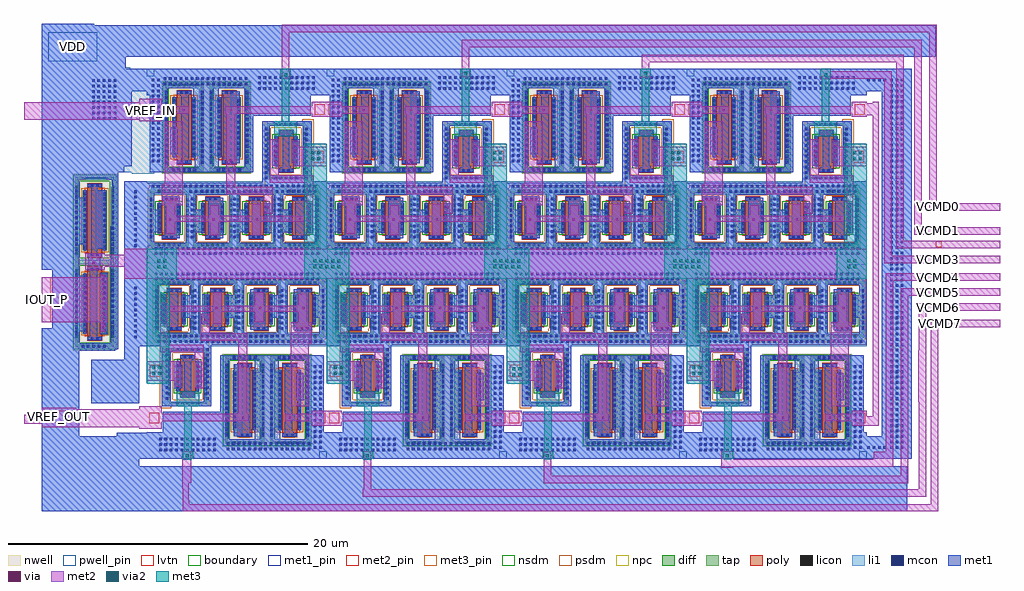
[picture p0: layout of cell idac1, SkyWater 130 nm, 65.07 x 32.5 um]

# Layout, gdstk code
from math import pi, radians
import gdstk
lib = gdstk.Library(unit=1e-6, precision=1e-09)
def R(c, l, rs):  # rectangles x0, y0, x1, y1
    for r in rs: c.add(gdstk.rectangle(r[:2], r[2:], *l))
def A(c, l, x, y, w, h, nx, ny, dx, dy):  # array of equal rectangles
    R(c, l, [(x+i*dx, y+j*dy, x+i*dx+w, y+j*dy+h) for i in range(nx) for j in range(ny)])
nwell = (64, 20)
diff = (65, 20)
tap = (65, 44)
poly = (66, 20)
licon = (66, 44)
li1 = (67, 20)
mcon = (67, 44)
met1_pin = (68, 16)
met1 = (68, 20)
via = (68, 44)
met2_pin = (69, 16)
met2 = (69, 20)
via2 = (69, 44)
met3_pin = (70, 16)
met3 = (70, 20)
nsdm = (93, 44)
psdm = (94, 20)
npc = (95, 20)
pwell_pin = (122, 16)
lvtn = (125, 44)
boundary = (235, 4)

sky130_fd_pr__pfet_01v8_ = lib.new_cell('sky130_fd_pr__pfet_01v8_lvt_ZJ82X3')
R(sky130_fd_pr__pfet_01v8_, nwell, [(-1.48,-3.095,1.48,3.095)])
R(sky130_fd_pr__pfet_01v8_, diff, [(-0.79,-2,0.79,2)])
R(sky130_fd_pr__pfet_01v8_, tap, [(-1.3,-2.915,1.3,-2.745), (-1.3,-2.745,-1.13,2.745), (1.13,-2.745,1.3,2.745), (-1.3,2.745,1.3,2.915)])
R(sky130_fd_pr__pfet_01v8_, poly, [(-0.5,-2.485,0.5,2.485)])
A(sky130_fd_pr__pfet_01v8_, licon, -1.3, -2.295, 0.17, 0.17, 1, 14, 0, 0.34)
A(sky130_fd_pr__pfet_01v8_, licon, 1.13, -2.295, 0.17, 0.17, 1, 14, 0, 0.34)
A(sky130_fd_pr__pfet_01v8_, licon, -0.73, -1.785, 0.17, 0.17, 1, 11, 0, 0.34)
A(sky130_fd_pr__pfet_01v8_, licon, 0.56, -1.785, 0.17, 0.17, 1, 11, 0, 0.34)
R(sky130_fd_pr__pfet_01v8_, licon, [(-0.255,-2.405,-0.085,-2.235), (0.085,-2.405,0.255,-2.235), (-0.255,2.235,-0.085,2.405), (0.085,2.235,0.255,2.405)])
R(sky130_fd_pr__pfet_01v8_, li1, [(-1.3,-2.915,1.3,-2.745), (-1.3,-2.745,-1.13,2.745), (1.13,-2.745,1.3,2.745), (-0.5,-2.405,0.5,-2.235), (-0.73,-2.02,-0.56,2.02), (0.56,-2.02,0.73,2.02), (-0.5,2.235,0.5,2.405), (-1.3,2.745,1.3,2.915)])
A(sky130_fd_pr__pfet_01v8_, mcon, -1.3, -2.065, 0.17, 0.17, 1, 12, 0, 0.36)
A(sky130_fd_pr__pfet_01v8_, mcon, 1.13, -2.065, 0.17, 0.17, 1, 12, 0, 0.36)
A(sky130_fd_pr__pfet_01v8_, mcon, -0.73, -1.885, 0.17, 0.17, 1, 11, 0, 0.36)
A(sky130_fd_pr__pfet_01v8_, mcon, 0.56, -1.885, 0.17, 0.17, 1, 11, 0, 0.36)
R(sky130_fd_pr__pfet_01v8_, mcon, [(-0.265,-2.405,-0.095,-2.235), (0.095,-2.405,0.265,-2.235), (-0.265,2.235,-0.095,2.405), (0.095,2.235,0.265,2.405)])
R(sky130_fd_pr__pfet_01v8_, met1, [(-0.48,-2.435,0.48,-2.205), (-1.33,-2.255,-1.1,2.255), (1.1,-2.255,1.33,2.255), (-0.76,-2,-0.53,2), (0.53,-2,0.76,2), (-0.48,2.205,0.48,2.435)])
R(sky130_fd_pr__pfet_01v8_, nsdm, [(-1.425,-3.04,1.425,-2.62), (-1.425,-2.62,-1.005,2.62), (1.005,-2.62,1.425,2.62), (-1.425,2.62,1.425,3.04)])
R(sky130_fd_pr__pfet_01v8_, psdm, [(-0.915,-2.125,0.915,2.125)])
R(sky130_fd_pr__pfet_01v8_, npc, [(-0.355,-2.505,0.355,-2.135), (-0.355,2.135,0.355,2.505)])
R(sky130_fd_pr__pfet_01v8_, lvtn, [(-0.68,-2.18,0.68,2.18)])
R(sky130_fd_pr__pfet_01v8_, boundary, [(-1.215,-2.83,1.215,2.83)])

c_sky130_fd_pr__pfet_01v8_ = lib.new_cell('sky130_fd_pr__pfet_01v8_lvt_ZJ8M88')
R(c_sky130_fd_pr__pfet_01v8_, nwell, [(-1.48,-3.095,1.48,3.095)])
R(c_sky130_fd_pr__pfet_01v8_, diff, [(-0.79,-2,0.79,2)])
R(c_sky130_fd_pr__pfet_01v8_, tap, [(-1.3,-2.915,1.3,-2.745), (-1.3,-2.745,-1.13,2.745), (1.13,-2.745,1.3,2.745), (-1.3,2.745,1.3,2.915)])
R(c_sky130_fd_pr__pfet_01v8_, poly, [(-0.5,-2.485,0.5,2.485)])
A(c_sky130_fd_pr__pfet_01v8_, licon, -1.3, -2.295, 0.17, 0.17, 1, 14, 0, 0.34)
A(c_sky130_fd_pr__pfet_01v8_, licon, 1.13, -2.295, 0.17, 0.17, 1, 14, 0, 0.34)
A(c_sky130_fd_pr__pfet_01v8_, licon, -0.73, -1.785, 0.17, 0.17, 1, 11, 0, 0.34)
A(c_sky130_fd_pr__pfet_01v8_, licon, 0.56, -1.785, 0.17, 0.17, 1, 11, 0, 0.34)
R(c_sky130_fd_pr__pfet_01v8_, licon, [(-0.255,-2.405,-0.085,-2.235), (0.085,-2.405,0.255,-2.235), (-0.255,2.235,-0.085,2.405), (0.085,2.235,0.255,2.405)])
R(c_sky130_fd_pr__pfet_01v8_, li1, [(-1.3,-2.915,1.3,-2.745), (-1.3,-2.745,-1.13,2.745), (1.13,-2.745,1.3,2.745), (-0.5,-2.405,0.5,-2.235), (-0.73,-2.02,-0.56,2.02), (0.56,-2.02,0.73,2.02), (-0.5,2.235,0.5,2.405), (-1.3,2.745,1.3,2.915)])
A(c_sky130_fd_pr__pfet_01v8_, mcon, -1.3, -2.065, 0.17, 0.17, 1, 12, 0, 0.36)
A(c_sky130_fd_pr__pfet_01v8_, mcon, 1.13, -2.065, 0.17, 0.17, 1, 12, 0, 0.36)
A(c_sky130_fd_pr__pfet_01v8_, mcon, -0.73, -1.885, 0.17, 0.17, 1, 11, 0, 0.36)
A(c_sky130_fd_pr__pfet_01v8_, mcon, 0.56, -1.885, 0.17, 0.17, 1, 11, 0, 0.36)
R(c_sky130_fd_pr__pfet_01v8_, mcon, [(-0.265,-2.405,-0.095,-2.235), (0.095,-2.405,0.265,-2.235), (-0.265,2.235,-0.095,2.405), (0.095,2.235,0.265,2.405)])
R(c_sky130_fd_pr__pfet_01v8_, met1, [(-0.48,-2.435,0.48,-2.205), (-1.33,-2.255,-1.1,2.255), (1.1,-2.255,1.33,2.255), (-0.76,-2,-0.53,2), (0.53,-2,0.76,2), (-0.48,2.205,0.48,2.435)])
R(c_sky130_fd_pr__pfet_01v8_, nsdm, [(-1.425,-3.04,1.425,-2.62), (-1.425,-2.62,-1.005,2.62), (1.005,-2.62,1.425,2.62), (-1.425,2.62,1.425,3.04)])
R(c_sky130_fd_pr__pfet_01v8_, psdm, [(-0.915,-2.125,0.915,2.125)])
R(c_sky130_fd_pr__pfet_01v8_, npc, [(-0.355,-2.505,0.355,-2.135), (-0.355,2.135,0.355,2.505)])
R(c_sky130_fd_pr__pfet_01v8_, lvtn, [(-0.68,-2.18,0.68,2.18)])
R(c_sky130_fd_pr__pfet_01v8_, boundary, [(-1.215,-2.83,1.215,2.83)])

sky130_fd_pr__nfet_01v8_ = lib.new_cell('sky130_fd_pr__nfet_01v8_lvt_QGMAL3')
R(sky130_fd_pr__nfet_01v8_, diff, [(-0.79,-1,0.79,1)])
R(sky130_fd_pr__nfet_01v8_, tap, [(-1.3,-1.87,1.3,-1.7), (-1.3,-1.7,-1.13,1.7), (1.13,-1.7,1.3,1.7), (-1.3,1.7,1.3,1.87)])
R(sky130_fd_pr__nfet_01v8_, poly, [(-0.5,-1.44,0.5,1.44)])
A(sky130_fd_pr__nfet_01v8_, licon, -0.765, -1.87, 0.17, 0.17, 5, 2, 0.34, 3.57)
A(sky130_fd_pr__nfet_01v8_, licon, -1.3, -1.275, 0.17, 0.17, 1, 8, 0, 0.34)
A(sky130_fd_pr__nfet_01v8_, licon, 1.13, -1.275, 0.17, 0.17, 1, 8, 0, 0.34)
A(sky130_fd_pr__nfet_01v8_, licon, -0.73, -0.935, 0.17, 0.17, 1, 6, 0, 0.34)
A(sky130_fd_pr__nfet_01v8_, licon, 0.56, -0.935, 0.17, 0.17, 1, 6, 0, 0.34)
R(sky130_fd_pr__nfet_01v8_, licon, [(-0.255,-1.36,-0.085,-1.19), (0.085,-1.36,0.255,-1.19), (-0.255,1.19,-0.085,1.36), (0.085,1.19,0.255,1.36)])
R(sky130_fd_pr__nfet_01v8_, li1, [(-1.3,-1.87,1.3,-1.7), (-1.3,-1.7,-1.13,1.7), (1.13,-1.7,1.3,1.7), (-0.5,-1.36,0.5,-1.19), (-0.73,-1.02,-0.56,1.02), (0.56,-1.02,0.73,1.02), (-0.5,1.19,0.5,1.36), (-1.3,1.7,1.3,1.87)])
A(sky130_fd_pr__nfet_01v8_, mcon, -0.73, -0.805, 0.17, 0.17, 1, 5, 0, 0.36)
A(sky130_fd_pr__nfet_01v8_, mcon, 0.56, -0.805, 0.17, 0.17, 1, 5, 0, 0.36)
R(sky130_fd_pr__nfet_01v8_, mcon, [(-0.265,-1.36,-0.095,-1.19), (0.095,-1.36,0.265,-1.19), (-0.265,1.19,-0.095,1.36), (0.095,1.19,0.265,1.36)])
R(sky130_fd_pr__nfet_01v8_, met1, [(-0.48,-1.39,0.48,-1.16), (-0.76,-1,-0.53,1), (0.53,-1,0.76,1), (-0.48,1.16,0.48,1.39)])
R(sky130_fd_pr__nfet_01v8_, nsdm, [(-0.915,-1.125,0.915,1.125)])
R(sky130_fd_pr__nfet_01v8_, psdm, [(-1.425,-1.995,1.425,-1.575), (-1.425,-1.575,-1.005,1.575), (1.005,-1.575,1.425,1.575), (-1.425,1.575,1.425,1.995)])
R(sky130_fd_pr__nfet_01v8_, npc, [(-0.355,-1.46,0.355,-1.09), (-0.355,1.09,0.355,1.46)])
R(sky130_fd_pr__nfet_01v8_, lvtn, [(-0.68,-1.18,0.68,1.18)])
R(sky130_fd_pr__nfet_01v8_, boundary, [(-1.21,-1.78,1.21,1.78)])

c_sky130_fd_pr__pfet_01v8__ = lib.new_cell('sky130_fd_pr__pfet_01v8_lvt_3VA8VM')
R(c_sky130_fd_pr__pfet_01v8__, nwell, [(-1.48,-3.095,1.48,3.095)])
R(c_sky130_fd_pr__pfet_01v8__, diff, [(-0.79,-2,0.79,2)])
R(c_sky130_fd_pr__pfet_01v8__, tap, [(-1.3,-2.915,1.3,-2.745), (-1.3,-2.745,-1.13,2.745), (1.13,-2.745,1.3,2.745), (-1.3,2.745,1.3,2.915)])
R(c_sky130_fd_pr__pfet_01v8__, poly, [(-0.5,-2.485,0.5,2.485)])
A(c_sky130_fd_pr__pfet_01v8__, licon, -0.765, -2.915, 0.17, 0.17, 5, 2, 0.34, 5.66)
A(c_sky130_fd_pr__pfet_01v8__, licon, -1.3, -2.295, 0.17, 0.17, 1, 14, 0, 0.34)
A(c_sky130_fd_pr__pfet_01v8__, licon, 1.13, -2.295, 0.17, 0.17, 1, 14, 0, 0.34)
A(c_sky130_fd_pr__pfet_01v8__, licon, -0.73, -1.785, 0.17, 0.17, 1, 11, 0, 0.34)
A(c_sky130_fd_pr__pfet_01v8__, licon, 0.56, -1.785, 0.17, 0.17, 1, 11, 0, 0.34)
R(c_sky130_fd_pr__pfet_01v8__, licon, [(-0.255,-2.405,-0.085,-2.235), (0.085,-2.405,0.255,-2.235), (-0.255,2.235,-0.085,2.405), (0.085,2.235,0.255,2.405)])
R(c_sky130_fd_pr__pfet_01v8__, li1, [(-1.3,-2.915,1.3,-2.745), (-1.3,-2.745,-1.13,2.745), (1.13,-2.745,1.3,2.745), (-0.5,-2.405,0.5,-2.235), (-0.73,-2.02,-0.56,2.02), (0.56,-2.02,0.73,2.02), (-0.5,2.235,0.5,2.405), (-1.3,2.745,1.3,2.915)])
A(c_sky130_fd_pr__pfet_01v8__, mcon, -0.73, -1.885, 0.17, 0.17, 1, 11, 0, 0.36)
A(c_sky130_fd_pr__pfet_01v8__, mcon, 0.56, -1.885, 0.17, 0.17, 1, 11, 0, 0.36)
R(c_sky130_fd_pr__pfet_01v8__, mcon, [(-0.265,-2.405,-0.095,-2.235), (0.095,-2.405,0.265,-2.235), (-0.265,2.235,-0.095,2.405), (0.095,2.235,0.265,2.405)])
R(c_sky130_fd_pr__pfet_01v8__, met1, [(-0.48,-2.435,0.48,-2.205), (-0.76,-2,-0.53,2), (0.53,-2,0.76,2), (-0.48,2.205,0.48,2.435)])
R(c_sky130_fd_pr__pfet_01v8__, nsdm, [(-1.425,-3.04,1.425,-2.62), (-1.425,-2.62,-1.005,2.62), (1.005,-2.62,1.425,2.62), (-1.425,2.62,1.425,3.04)])
R(c_sky130_fd_pr__pfet_01v8__, psdm, [(-0.915,-2.125,0.915,2.125)])
R(c_sky130_fd_pr__pfet_01v8__, npc, [(-0.355,-2.505,0.355,-2.135), (-0.355,2.135,0.355,2.505)])
R(c_sky130_fd_pr__pfet_01v8__, lvtn, [(-0.68,-2.18,0.68,2.18)])
R(c_sky130_fd_pr__pfet_01v8__, boundary, [(-1.215,-2.83,1.215,2.83)])

idac1cell = lib.new_cell('idac1cell')
R(idac1cell, nwell, [(1.8,7,2.15,13.15), (-1,13.15,4.95,13.2)])
R(idac1cell, tap, [(7,5.45,7.1,5.6), (6.9,5.6,7.1,5.65), (9.15,5.6,9.4,5.65), (6.9,5.65,9.4,5.7), (-1.7,5.7,9.4,6.1), (6.9,6.1,9,6.2), (8.5,6.5,9,10.5)])
R(idac1cell, li1, [(-2,1,10,2.4), (-2,2.4,-1.5,3.1), (0.6,2.4,1.3,3.1), (3.5,2.4,4.2,3.1), (6.45,2.4,7.1,2.45), (9.2,2.4,10,5.6), (6.5,2.45,7.1,3.1), (7.76,2.69,8.6,2.86), (-0.2,2.7,0.2,2.8), (2.1,2.7,3.1,3.11), (-0.8,2.8,0.2,3.11), (5.85,3.05,6.15,5.05), (-2,3.1,-1.1,4.6), (0.6,3.1,1.8,4.6), (3.5,3.1,4.8,4.6), (6.5,3.1,7.7,4.6), (-0.8,3.11,0.21,4.99), (2.1,3.11,3.11,4.99), (-2,4.6,-1.5,5.6), (0.6,4.6,1.3,5.6), (3.5,4.6,4.2,5.6), (6.5,4.6,7.1,5.6), (7.45,4.6,7.62,4.99), (-0.8,4.99,0.2,5.4), (2.1,4.99,3.1,5.4), (7.76,5.24,8.6,5.41), (-2,5.6,10,6.5), (5.7,6.5,9,6.9), (5.7,6.9,6.2,10.2), (8.4,6.9,9,10.2), (-1.8,7.1,5.1,7.4), (6.86,7.14,7.7,7.31), (-1.8,7.4,-0.6,12.25), (1.5,7.4,2.4,8.25), (4.5,7.4,5.1,10.88), (3.06,7.69,3.9,7.75), (3.06,7.75,4.15,7.86), (3.6,7.86,4.15,8.155), (1.04,8.155,1.21,8.25), (2.75,8.155,2.92,8.25), (3.6,8.155,4.21,12.035), (1.04,8.25,2.92,11.9), (6.86,9.69,7.7,9.86), (5.7,10.2,9,10.5), (4.5,10.88,8.93,12.25), (1.04,11.9,1.21,12.035), (1.5,11.9,2.4,12.7), (2.75,11.9,2.92,12.035), (3.6,12.035,4.15,12.33), (-2,12.25,-0.6,12.7), (4.5,12.25,10,12.7), (3.06,12.33,4.15,12.4), (3.06,12.4,3.9,12.5), (-2,12.7,10,14)])
A(idac1cell, mcon, -1.485, 1.585, 0.17, 0.17, 31, 2, 0.36, 0.36)
A(idac1cell, mcon, -1.82, 2.705, 0.17, 0.17, 1, 8, 0, 0.36)
A(idac1cell, mcon, 0.915, 2.705, 0.17, 0.17, 1, 8, 0, 0.36)
A(idac1cell, mcon, 3.765, 2.705, 0.17, 0.17, 1, 8, 0, 0.36)
A(idac1cell, mcon, 6.715, 2.705, 0.17, 0.17, 1, 8, 0, 0.36)
A(idac1cell, mcon, 9.31, 2.705, 0.17, 0.17, 1, 8, 0, 0.36)
A(idac1cell, mcon, 0.04, 3.245, 0.17, 0.17, 1, 5, 0, 0.36)
A(idac1cell, mcon, 2.94, 3.245, 0.17, 0.17, 1, 5, 0, 0.36)
A(idac1cell, mcon, 7.45, 3.245, 0.17, 0.17, 1, 5, 0, 0.36)
A(idac1cell, mcon, 0.835, 5.735, 0.17, 0.17, 24, 1, 0.36, 0)
A(idac1cell, mcon, -1.685, 6.095, 0.17, 0.17, 31, 1, 0.36, 0)
A(idac1cell, mcon, 6.475, 6.63, 0.17, 0.17, 5, 1, 0.36, 0)
A(idac1cell, mcon, 5.865, 6.645, 0.17, 0.17, 1, 10, 0, 0.36)
A(idac1cell, mcon, 8.565, 6.645, 0.17, 0.17, 1, 10, 0, 0.36)
A(idac1cell, mcon, -0.325, 7.18, 0.17, 0.17, 5, 1, 0.36, 0)
A(idac1cell, mcon, 2.675, 7.18, 0.17, 0.17, 5, 1, 0.36, 0)
A(idac1cell, mcon, -0.82, 7.67, 0.17, 0.17, 1, 14, 0, 0.36)
A(idac1cell, mcon, 1.61, 7.67, 0.17, 0.17, 1, 14, 0, 0.36)
A(idac1cell, mcon, 2.18, 7.67, 0.17, 0.17, 1, 14, 0, 0.36)
A(idac1cell, mcon, 4.61, 7.67, 0.17, 0.17, 1, 14, 0, 0.36)
A(idac1cell, mcon, -1.665, 7.765, 0.17, 0.17, 1, 16, 0, 0.36)
A(idac1cell, mcon, -1.305, 7.765, 0.17, 0.17, 1, 16, 0, 0.36)
A(idac1cell, mcon, 1.04, 8.21, 0.17, 0.17, 1, 11, 0, 0.36)
A(idac1cell, mcon, 2.75, 8.21, 0.17, 0.17, 1, 11, 0, 0.36)
A(idac1cell, mcon, 4.04, 8.21, 0.17, 0.17, 1, 11, 0, 0.36)
A(idac1cell, mcon, 5.415, 12.605, 0.17, 0.17, 11, 3, 0.36, 0.36)
A(idac1cell, mcon, -0.885, 12.905, 0.17, 0.17, 16, 2, 0.36, 0.36)
R(idac1cell, mcon, [(7.915,2.69,8.085,2.86), (8.275,2.69,8.445,2.86), (7.915,5.24,8.085,5.41), (8.275,5.24,8.445,5.41), (7.015,7.14,7.185,7.31), (7.375,7.14,7.545,7.31), (3.215,7.69,3.385,7.86), (3.575,7.69,3.745,7.86), (7.015,9.69,7.185,9.86), (7.375,9.69,7.545,9.86), (3.215,12.33,3.385,12.5), (3.575,12.33,3.745,12.5)])
R(idac1cell, met1_pin, [(-2,13.5,-1.5,14)])
R(idac1cell, met1, [(-2,1,10,2.4), (-2,2.4,-1.5,3.1), (0.6,2.4,1.3,3.1), (3.5,2.4,4.2,3.1), (6.45,2.4,7.1,2.45), (9.25,2.4,10,5.55), (6.5,2.45,7.1,3.1), (7.76,2.69,8.6,2.86), (-0.2,2.7,0.2,2.8), (2.1,2.7,3.1,3.11), (5,2.7,5.6,5.4), (-0.8,2.8,0.2,3.11), (7.9,2.86,8.5,5.24), (5.85,3.05,6.3,4.5), (8.75,3.05,9.05,5), (-2,3.1,-1.1,4.6), (0.6,3.1,1.8,4.6), (3.5,3.1,4.8,4.6), (6.5,3.1,7.7,4.6), (-0.8,3.11,0.21,4.99), (2.1,3.11,3.11,4.99), (5.85,4.5,6.35,5), (-2,4.6,-1.5,5.7), (0.6,4.6,1.3,5.6), (3.5,4.6,4.2,5.6), (6.5,4.6,7.1,5.6), (7.45,4.6,7.62,4.99), (-0.8,4.99,0.2,5.1), (2.1,4.99,3.1,5.4), (5.85,5,6.3,5.05), (-0.85,5.1,0.2,5.24), (-0.99,5.24,0.2,5.4), (7.76,5.24,8.6,5.41), (-0.99,5.4,0.15,5.5), (9.2,5.55,10,5.6), (0.6,5.6,10,5.7), (-2,5.7,10,6.4), (5.7,6.4,10,6.5), (5.7,6.5,9,6.9), (5.7,6.9,6.2,10.2), (8.4,6.9,9,10.2), (-1.8,7.1,5.1,7.4), (6.9,7.1,7.6,7.11), (6.8,7.11,7.76,7.34), (6.9,7.34,7.6,7.45), (-1.8,7.4,-0.6,12.25), (1.2,7.4,2.8,8.1), (4.5,7.4,5.1,7.42), (4.53,7.42,5.1,10.88), (7.05,7.45,7.6,7.5), (7.05,7.5,7.5,9.5), (7.75,7.5,8.2,7.75), (6.35,7.55,6.75,7.6), (6.35,7.6,6.8,9.2), (3,7.66,3.96,7.7), (0.2,7.7,0.7,7.8), (3,7.7,4.2,7.89), (7.65,7.75,8.2,9.3), (0.2,7.8,0.8,7.9), (3.1,7.89,4.2,8.155), (0.3,7.9,0.8,11.1), (1.1,8.1,2.8,8.155), (1.04,8.155,2.92,12.035), (3.1,8.155,4.21,12.035), (-0.45,8.3,0.05,10.1), (6.9,9.5,7.6,9.6), (6.85,9.6,7.65,9.66), (6.8,9.66,7.76,9.89), (6.85,9.89,7.65,9.9), (5.7,10.2,9,10.5), (4.53,10.88,8.93,12.25), (0.15,11.1,0.8,11.4), (0.3,11.4,0.8,12.2), (1.1,12.035,2.8,12.7), (3.1,12.035,4.2,12.33), (0.2,12.2,0.8,12.5), (-2,12.25,-0.6,12.7), (4.53,12.25,10,12.7), (3.06,12.33,4.2,12.5), (-2,12.7,10,14)])
A(idac1cell, via, -0.525, 3.875, 0.15, 0.15, 3, 1, 2.9, 0)
A(idac1cell, via, -0.745, 5.225, 0.15, 0.15, 3, 1, 0.32, 0)
A(idac1cell, via, 6.475, 7.795, 0.15, 0.15, 1, 4, 0, 0.32)
A(idac1cell, via, 7.85, 8.155, 0.15, 0.15, 1, 3, 0, 0.32)
A(idac1cell, via, -0.275, 8.485, 0.15, 0.15, 1, 5, 0, 0.32)
R(idac1cell, via, [(8.825,3.85,8.975,4), (8.125,3.925,8.275,4.075), (6.025,4.675,6.175,4.825), (3.525,7.825,3.675,7.975), (7.015,9.675,7.165,9.825), (7.335,9.675,7.485,9.825), (0.375,11.175,0.525,11.325), (3.525,11.175,3.675,11.325)])
R(idac1cell, met2_pin, [(9.1,7.75,9.8,8.55), (-1.89,10.93,-1.22,11.62), (9.18,10.94,9.85,11.63)])
R(idac1cell, met2, [(2.2,2.9,2.8,3.8), (5,2.9,5.6,3.8), (-0.7,3,-0.1,3.8), (8.65,3.6,9.1,6.4), (-0.7,3.8,8.5,4.2), (-0.7,4.2,-0.1,4.9), (2.2,4.2,2.8,4.9), (5,4.2,5.6,5), (5.8,4.35,6.4,5.65), (-1,4.9,0.4,6.3), (3.3,5.65,6.4,6.15), (3.3,6.15,3.9,11), (-0.8,6.3,0.4,10.5), (6.2,6.4,9.1,6.9), (6.2,6.9,6.8,9.3), (7.8,7.5,10,7.9), (7.75,7.9,10,8.8), (7.75,8.8,8.1,9.2), (6.9,9.55,7.6,9.95), (-2,10.8,-1,11), (9,10.8,10,11), (-2,11,0.8,11.5), (3.2,11,10,11.5), (-2,11.5,-1,11.8), (9,11.5,10,11.8)])
R(idac1cell, met3_pin, [(6.9,13.5,7.6,14)])
R(idac1cell, met3, [(6.5,9.5,8,10.5), (7,10.5,7.5,13.5), (6.9,13.5,7.6,14)])
R(idac1cell, nsdm, [(1.905,7.055,2.055,13.135)])
A(idac1cell, psdm, 0.905, 2.055, 0.05, 3.52, 3, 1, 2.9, 0)
R(idac1cell, psdm, [(6.875,5.325,7.225,5.475), (6.775,5.475,7.225,5.525), (9.025,5.475,9.525,5.525), (6.775,5.525,9.525,5.575), (-1.825,5.575,9.525,6.225), (5.855,6.225,9.125,6.505), (8.375,6.505,9.125,10.625)])
R(idac1cell, pwell_pin, [(-1.96,1.02,-0.81,2.19)])
idac1cell.add(gdstk.Reference(sky130_fd_pr__nfet_01v8_, (7.28,8.5)))
idac1cell.add(gdstk.Reference(sky130_fd_pr__nfet_01v8_, (8.18,4.05)))
idac1cell.add(gdstk.Reference(sky130_fd_pr__nfet_01v8_, (5.28,4.05)))
idac1cell.add(gdstk.Reference(sky130_fd_pr__nfet_01v8_, (2.38,4.05)))
idac1cell.add(gdstk.Reference(sky130_fd_pr__nfet_01v8_, (-0.52,4.05)))
idac1cell.add(gdstk.Reference(c_sky130_fd_pr__pfet_01v8__, (3.48,10.095)))
idac1cell.add(gdstk.Reference(c_sky130_fd_pr__pfet_01v8__, (0.48,10.095)))
idac1cell.add(gdstk.Label('VREF_IN', (-1.555,11.275), layer=69, texttype=5))
idac1cell.add(gdstk.Label('OE', (7.25,13.75), layer=70, texttype=5))
idac1cell.add(gdstk.Label('IOUT', (9.45,8.15), layer=69, texttype=5))
idac1cell.add(gdstk.Label('VDD', (-1.75,13.75), layer=68, texttype=5))
idac1cell.add(gdstk.Label('VSS', (-1.385,1.605), layer=64, texttype=59))
idac1cell.add(gdstk.Label('VREF_OUT', (9.515,11.285), layer=69, texttype=5))

idac1 = lib.new_cell('idac1')
R(idac1, nwell, [(-4.9,-5.8,-2.1,-5.7), (-4.9,-5.7,-1.9,-5.3), (-2.4,-5.3,-1.9,2.5)])
R(idac1, li1, [(-7,-16.5,50.7,-13.5), (-7,-13.5,-0.5,-13), (-7,-13,2,-11.5), (48,-13,51,-11.5), (-7,-11.5,-4.5,-5.8), (-2,-11.5,2,-11.255), (49,-11.5,51,11.5), (-3.7,-9.3,-0.5,-6.4), (-1.5,-6.4,-0.5,-5.5), (-7,-5.8,-2.1,-5.7), (-7,-5.7,-1.9,-5.3), (-1.5,-5.5,0,5.5), (-7,-5.3,-4.5,-4.5), (-2.4,-5.3,-1.9,2.5), (-7,-4.5,-4,-4.3), (-6.3,-4.3,-4,-0.8), (-6.3,-0.8,-4.5,-0.4), (-7,-0.4,-4.5,1.3), (-3.4,1,-2.7,4.9), (-7,1.3,-4,4.4), (-2.3,2.5,-1.9,5.6), (-7,4.4,-4.5,5.6), (-7,5.6,-1.9,6.1), (-1,6,0.5,6.1), (-7,6.1,0.5,13), (48,11.5,51,13), (-7,13,-1.1,13.1), (-7,13.1,-1.4,13.8), (-7,13.8,52.6,15.9), (-7,15.9,-3.5,16)])
A(idac1, mcon, 48.03, -12.335, 0.17, 0.17, 4, 2, 0.36, 24.5)
A(idac1, mcon, 49.555, -12.325, 0.17, 0.17, 3, 69, 0.36, 0.36)
A(idac1, mcon, -4.355, -5.585, 0.17, 0.17, 5, 1, 0.36, 0)
A(idac1, mcon, -0.835, -4.955, 0.17, 0.17, 1, 10, 0, 0.36)
A(idac1, mcon, -0.835, 1.115, 0.17, 0.17, 1, 11, 0, 0.36)
A(idac1, mcon, -3.655, 9.605, 0.17, 0.17, 5, 8, 0.36, 0.36)
R(idac1, met1_pin, [(-6.57,13.51,-3.32,15.43)])
R(idac1, met1, [(-7,-16.5,50.7,-13.5), (-7,-13.5,-0.5,-13), (-7,-13,1,-12.745), (48,-13,51,-11.5), (-7,-12.745,1.745,-12.5), (-7,-12.5,2,-11.5), (-7,-11.5,-4.5,-5.8), (-2,-11.5,1.745,-11.255), (49,-11.5,51,11.5), (-3.7,-9.3,-0.5,-6.4), (-1.5,-6.4,-0.5,-5.5), (-7,-5.8,-2.1,-5.7), (-7,-5.7,-1.9,-5.3), (-1.5,-5.5,0,5.5), (-7,-5.3,-4.5,-4.5), (-2.4,-5.3,-1.9,2.5), (-3.7,-5,-3.3,-4.9), (-3.8,-4.9,-3.3,-0.4), (-3.15,-4.7,-2.6,-0.6), (-7,-4.5,-4,-4.3), (-6.3,-4.3,-4,-0.8), (-6.3,-0.8,-4.5,-0.4), (-7,-0.4,-4.5,1.3), (-3.7,-0.4,-3.3,-0.3), (-3.9,-0.3,-3.1,0.6), (-3.7,0.6,-3.3,1), (-3.7,1,-2.7,4.9), (-7,1.3,-4,4.4), (-2.3,2.5,-1.9,5.6), (-7,4.4,-4.5,5.6), (-3.7,4.9,-3.3,5.3), (-7,5.6,-4.1,5.7), (-2.7,5.6,-1.9,5.7), (-7,5.7,-1.9,6.1), (-7,6.1,-1.5,6.5), (-7,6.5,-1,11.5), (-7,11.5,0,13), (48,11.5,51,13), (-7,13,-1.4,13.8), (-7,13.8,52.6,15.9), (-7,15.9,-3.5,16)])
A(idac1, via, -2.975, -4.325, 0.15, 0.15, 1, 11, 0, 0.32)
R(idac1, via, [(-3.625,-0.025,-3.475,0.125)])
A(idac1, met2_pin, 52.6, -3.1, 0.4, 0.4, 1, 3, 0, 1)
R(idac1, met2_pin, [(-6.7,-10.6,-5.1,-9.8), (52.7,-4.2,53.1,-3.8), (-7,-3.9,-6.4,-0.9), (52.6,0.1,53,0.5), (52.6,1.1,53,1.5), (52.6,2,53,2.4), (52.6,3.6,53,4), (-0.5,9.5,1,11)])
R(idac1, met2, [(2.4,-16.5,52.75,-16.05), (2.4,-16.05,2.825,-15.8), (52.25,-16.05,52.75,-9.2), (2.4,-15.8,2.8,-15), (14.4,-15.55,51.95,-15.05), (14.45,-15.05,14.95,-12.505), (51.45,-15.05,51.95,-9.2), (2.375,-15,2.8,-14.6), (26.45,-14.65,50.75,-14.15), (2.375,-14.6,2.95,-12.575), (26.45,-14.15,26.95,-12.55), (50.25,-14.15,50.75,-2.15), (38.3,-13.6,39.1,-13.55), (38.3,-13.55,49.75,-13.05), (38.3,-13.05,39.1,-12.5), (48.45,-13.05,49.75,-12.55), (2.45,-12.575,2.95,-12.505), (49.25,-12.55,49.75,-1.15), (-0.5,-11,1,-10.9), (-7,-10.9,1,-10.67), (47,-10.8,48.8,-10.17), (-8.19,-10.67,1,-10.07), (47,-10.17,47.88,-9.8), (48.4,-10.17,48.8,-9.905), (-7,-10.07,1,-9.7), (48.395,-9.905,48.805,9.9), (-7,-9.7,-4.7,-9.6), (-0.5,-9.7,1,-9.5), (51.44,-9.2,51.96,-5.8), (52.25,-9.2,52.76,-5.8), (24.2,-7.65,25.1,-6.75), (0.2,-7.55,1.1,-6.65), (12.3,-7.55,13.2,-6.65), (36.2,-7.55,37.1,-6.65), (51.45,-5.8,51.95,-3.15), (52.25,-5.8,52.75,-4.25), (-3.1,-4.55,-2.7,-3.9), (52.25,-4.25,56.88,-3.75), (-7,-3.9,-2.6,-0.9), (51.45,-3.15,56.88,-2.65), (50.25,-2.15,56.88,-1.65), (49.25,-1.15,56.88,-0.65), (-1.5,-1,48,-0.2), (-3.1,-0.9,-2.7,-0.75), (-4.1,-0.4,-2.8,-0.2), (-4.1,-0.2,48,0.6), (49.15,0.05,56.88,0.55), (49.15,0.55,49.65,12.35), (-4.1,0.6,-2.8,0.7), (-1.5,0.6,48,1), (49.95,1.05,56.88,1.55), (49.95,1.55,50.45,13.45), (51.15,1.95,56.88,2.45), (51.15,2.45,51.65,14.45), (52.15,3.55,56.88,4.05), (52.15,4.05,52.65,15.45), (10.8,6.75,11.7,7.65), (22.9,6.75,23.8,7.65), (34.8,6.75,35.7,7.65), (46.9,6.75,47.8,7.65), (-0.5,9.5,1,9.59), (-8.19,9.59,1,10.76), (47,9.9,48.805,10.7), (48.395,10.7,48.805,10.805), (-0.5,10.76,1,11), (44.9,12.3,45.6,12.35), (9,12.35,9.5,12.375), (44.9,12.35,49.65,12.85), (8.98,12.375,9.52,12.825), (32.9,12.4,33.6,13), (21,12.45,21.5,12.475), (20.98,12.475,21.52,12.925), (9,12.825,9.5,15.45), (44.9,12.85,45.6,13), (21,12.925,21.5,14.45), (33,13,33.5,13.45), (33,13.45,50.45,13.95), (21,14.45,51.65,14.95), (9,15.45,52.65,15.95)])
A(idac1, via2, 2.6, -12.9, 0.2, 0.2, 4, 1, 12, 0)
A(idac1, via2, 11.1, -0.3, 0.2, 0.2, 5, 2, 0.4, 0.4)
A(idac1, via2, 23.1, -0.3, 0.2, 0.2, 5, 2, 0.4, 0.4)
A(idac1, via2, 35.1, -0.3, 0.2, 0.2, 5, 2, 0.4, 0.4)
R(idac1, via2, [(24.35,-7.5,24.55,-7.3), (24.75,-7.5,24.95,-7.3), (0.35,-7.4,0.55,-7.2), (0.75,-7.4,0.95,-7.2), (12.45,-7.4,12.65,-7.2), (12.85,-7.4,13.05,-7.2), (36.35,-7.4,36.55,-7.2), (36.75,-7.4,36.95,-7.2), (24.35,-7.1,24.55,-6.9), (24.75,-7.1,24.95,-6.9), (0.35,-7,0.55,-6.8), (0.75,-7,0.95,-6.8), (12.45,-7,12.65,-6.8), (12.85,-7,13.05,-6.8), (36.35,-7,36.55,-6.8), (36.75,-7,36.95,-6.8), (0.7,-0.3,0.9,-0.1), (1.1,-0.3,1.3,-0.1), (46.7,-0.3,46.9,-0.1), (47.1,-0.3,47.3,-0.1), (0.7,0.1,0.9,0.3), (1.1,0.1,1.3,0.3), (46.7,0.1,46.9,0.3), (47.1,0.1,47.3,0.3), (10.95,6.9,11.15,7.1), (11.35,6.9,11.55,7.1), (23.05,6.9,23.25,7.1), (23.45,6.9,23.65,7.1), (34.95,6.9,35.15,7.1), (35.35,6.9,35.55,7.1), (47.05,6.9,47.25,7.1), (47.45,6.9,47.65,7.1), (10.95,7.3,11.15,7.5), (11.35,7.3,11.55,7.5), (23.05,7.3,23.25,7.5), (23.45,7.3,23.65,7.5), (34.95,7.3,35.15,7.5), (35.35,7.3,35.55,7.5), (47.05,7.3,47.25,7.5), (47.45,7.3,47.65,7.5), (9.15,12.5,9.35,12.7), (45.15,12.5,45.35,12.7), (21.15,12.6,21.35,12.8), (33.15,12.6,33.35,12.8)])
A(idac1, met3, 0, -8, 1.5, 7, 4, 1, 12, 0)
A(idac1, met3, 10.5, -1, 3, 2, 3, 1, 12, 0)
A(idac1, met3, 10.5, 1, 1.5, 7, 4, 1, 12, 0)
R(idac1, met3, [(2.425,-13.075,2.975,-12.525), (14.425,-13.075,14.975,-12.525), (26.45,-13.025,26.95,-12.575), (38.45,-13.025,38.95,-12.575), (0,-1,2,1), (46,-1,48,1), (9,12.35,9.5,12.85), (45,12.35,45.5,12.85), (21,12.45,21.5,12.95), (33,12.45,33.5,12.95)])
idac1.add(gdstk.Reference(sky130_fd_pr__pfet_01v8_, (-3.47,2.895)))
idac1.add(gdstk.Reference(c_sky130_fd_pr__pfet_01v8_, (-3.47,-2.655)))
idac1.add(gdstk.Reference(idac1cell, (22,1), rotation=pi))
idac1.add(gdstk.Reference(idac1cell, (34,1), rotation=pi))
idac1.add(gdstk.Reference(idac1cell, (46,1), rotation=pi))
idac1.add(gdstk.Reference(idac1cell, (38,-1)))
idac1.add(gdstk.Reference(idac1cell, (26,-1)))
idac1.add(gdstk.Reference(idac1cell, (14,-1)))
idac1.add(gdstk.Reference(idac1cell, (2,-1)))
idac1.add(gdstk.Reference(idac1cell, (10,1), rotation=pi))
idac1.add(gdstk.Label('VCMD0', (52.8,3.8), layer=69, texttype=5))
idac1.add(gdstk.Label('VCMD1', (52.8,2.2), layer=69, texttype=5))
idac1.add(gdstk.Label('VCMD2', (52.8,1.3), layer=69, texttype=5))
idac1.add(gdstk.Label('VCMD3', (52.8,0.3), layer=69, texttype=5))
idac1.add(gdstk.Label('VCMD4', (52.8,-0.9), layer=69, texttype=5))
idac1.add(gdstk.Label('VCMD5', (52.8,-1.9), layer=69, texttype=5))
idac1.add(gdstk.Label('VCMD6', (52.8,-2.9), layer=69, texttype=5))
idac1.add(gdstk.Label('VCMD7', (52.9,-4), layer=69, texttype=5))
idac1.add(gdstk.Label('VREF_IN', (0.25,10.25), layer=69, texttype=5))
idac1.add(gdstk.Label('VREF_OUT', (-5.9,-10.2), layer=69, texttype=5))
idac1.add(gdstk.Label('IOUT_P', (-6.7,-2.4), layer=69, texttype=5))
idac1.add(gdstk.Label('VDD', (-4.945,14.47), layer=68, texttype=5))

lib.write_gds('idac1.gds')
